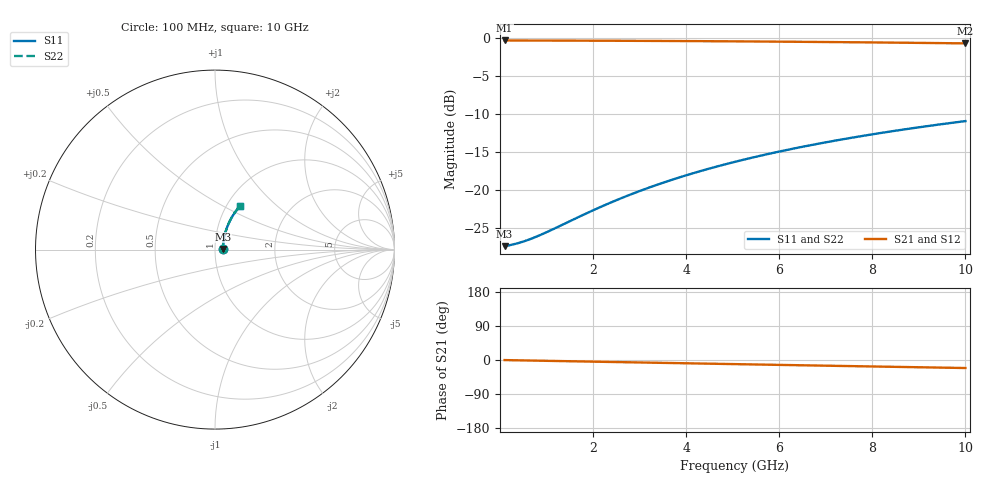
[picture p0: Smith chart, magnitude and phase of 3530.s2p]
# Hz S RI R 50.00
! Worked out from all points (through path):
!   100 points, 100 MHz to 10 GHz, reference 50 ohm
!   highest |S21| = -0.38 dB at 100 MHz (marker M1); lowest = -0.8 dB at 10 GHz (marker M2)
!   group delay of S21, straight-line fit = 5.89 ps
!   lowest |S11| = -27.4 dB at 100 MHz (marker M3), VSWR 1.09, Z = 54.5 + j0.304 ohm
!   |S11| at or under -10 dB: start of sweep to end of sweep
!   |S22| runs from -27.4 to -11.0 dB; largest |S21 - S12| = 0
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1e8  0.0428 0.00278  0.9572 -0.00363  0.9572 -0.00363  0.0428 0.00278
3e8  0.0433 0.00834  0.9567 -0.0109  0.9567 -0.0109  0.0433 0.00834
4e8  0.0436 0.0111  0.9564 -0.0145  0.9564 -0.0145  0.0436 0.0111
5e8  0.0438 0.0139  0.9562 -0.0181  0.9562 -0.0181  0.0438 0.0139
7e8  0.0443 0.0194  0.9557 -0.0254  0.9557 -0.0254  0.0443 0.0194
9e8  0.0448 0.0249  0.9552 -0.0326  0.9552 -0.0326  0.0448 0.0249
1.1e9  0.0454 0.0305  0.9546 -0.0398  0.9546 -0.0398  0.0454 0.0305
1.8e9  0.0479 0.0497  0.952 -0.065  0.952 -0.065  0.0479 0.0497
2.2e9  0.0498 0.0606  0.95 -0.0793  0.95 -0.0793  0.0498 0.0606
2.6e9  0.0519 0.0714  0.9478 -0.0935  0.9478 -0.0935  0.0519 0.0714
3e9  0.0544 0.0821  0.9453 -0.1076  0.9453 -0.1076  0.0544 0.0821
3.4e9  0.0572 0.0928  0.9424 -0.1216  0.9424 -0.1216  0.0572 0.0928
3.8e9  0.0602 0.1033  0.9392 -0.1356  0.9392 -0.1356  0.0602 0.1033
4.2e9  0.0636 0.1137  0.9357 -0.1494  0.9357 -0.1494  0.0636 0.1137
4.6e9  0.0673 0.124  0.9319 -0.1631  0.9319 -0.1631  0.0673 0.124
5.1e9  0.0723 0.1366  0.9267 -0.18  0.9267 -0.18  0.0723 0.1366
5.9e9  0.0811 0.1563  0.9175 -0.2065  0.9175 -0.2065  0.0811 0.1563
6.7e9  0.0911 0.1753  0.9072 -0.2324  0.9072 -0.2324  0.0911 0.1753
7.5e9  0.1021 0.1936  0.8958 -0.2575  0.8958 -0.2575  0.1021 0.1936
8.4e9  0.1155 0.2131  0.8818 -0.2848  0.8818 -0.2848  0.1155 0.2131
9.2e9  0.1284 0.2296  0.8684 -0.3081  0.8684 -0.3081  0.1284 0.2296
1e10  0.142 0.2451  0.8542 -0.3306  0.8542 -0.3306  0.142 0.2451
